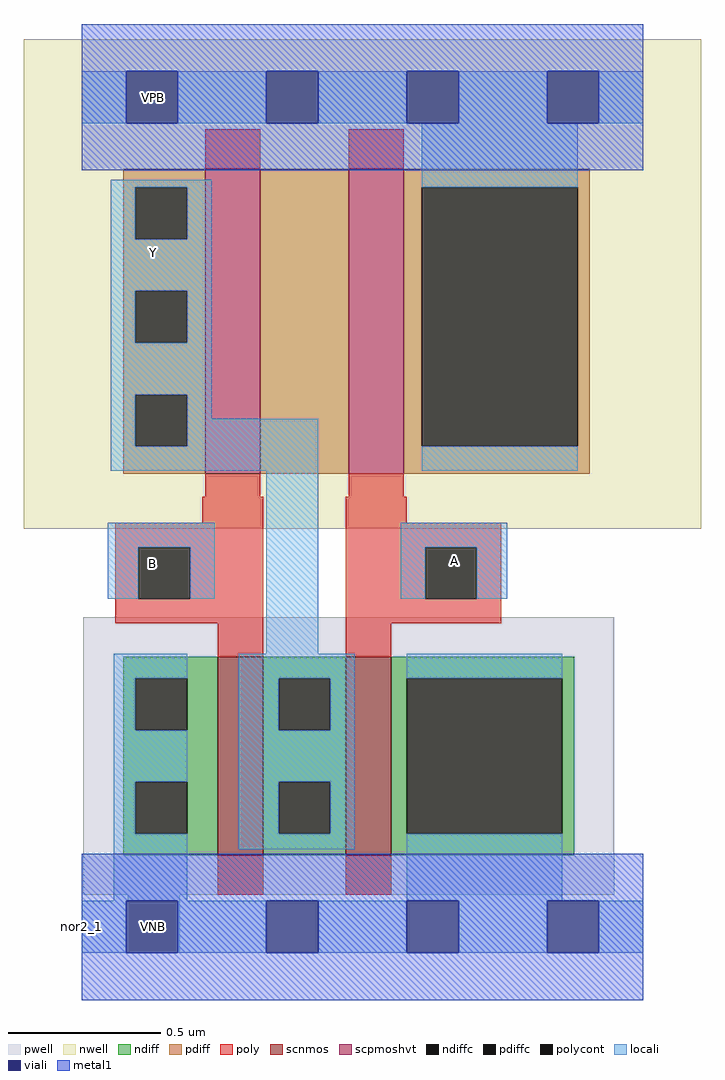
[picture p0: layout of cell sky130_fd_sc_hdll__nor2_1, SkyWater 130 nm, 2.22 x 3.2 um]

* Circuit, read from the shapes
.subckt sky130_fd_sc_hdll__nor2_1 A B VGND VNB VPB VPWR Y
XM1 Y B VGND VNB sky130_fd_pr__nfet_01v8 w=0.65 l=0.15
XM2 VGND A Y VNB sky130_fd_pr__nfet_01v8 w=0.65 l=0.15
XM3 n1 B Y VPB sky130_fd_pr__pfet_01v8_hvt w=1 l=0.18
XM4 VPWR A n1 VPB sky130_fd_pr__pfet_01v8_hvt w=1 l=0.18
.ends

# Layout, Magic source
magic
tech sky130A
magscale 1 2
<< nwell >>
rect -38 261 406 582
<< pwell >>
rect 1 21 349 203
rect 30 -17 64 21
<< scnmos >>
rect 89 47 119 177
rect 173 47 203 177
<< scpmoshvt >>
rect 81 297 117 497
rect 175 297 211 497
<< ndiff >>
rect 27 163 89 177
rect 27 129 35 163
rect 69 129 89 163
rect 27 95 89 129
rect 27 61 35 95
rect 69 61 89 95
rect 27 47 89 61
rect 119 163 173 177
rect 119 129 129 163
rect 163 129 173 163
rect 119 95 173 129
rect 119 61 129 95
rect 163 61 173 95
rect 119 47 173 61
rect 203 163 323 177
rect 203 61 213 163
rect 315 61 323 163
rect 203 47 323 61
<< pdiff >>
rect 27 485 81 497
rect 27 451 35 485
rect 69 451 81 485
rect 27 417 81 451
rect 27 383 35 417
rect 69 383 81 417
rect 27 349 81 383
rect 27 315 35 349
rect 69 315 81 349
rect 27 297 81 315
rect 117 297 175 497
rect 211 485 333 497
rect 211 315 223 485
rect 325 315 333 485
rect 211 297 333 315
<< ndiffc >>
rect 35 129 69 163
rect 35 61 69 95
rect 129 129 163 163
rect 129 61 163 95
rect 213 61 315 163
<< pdiffc >>
rect 35 451 69 485
rect 35 383 69 417
rect 35 315 69 349
rect 223 315 325 485
<< poly >>
rect 81 497 117 523
rect 175 497 211 523
rect 81 282 117 297
rect 175 282 211 297
rect 79 265 119 282
rect 22 249 119 265
rect 22 215 37 249
rect 71 215 119 249
rect 22 199 119 215
rect 89 177 119 199
rect 173 265 213 282
rect 173 249 275 265
rect 173 215 225 249
rect 259 215 275 249
rect 173 199 275 215
rect 173 177 203 199
rect 89 21 119 47
rect 173 21 203 47
<< polycont >>
rect 37 215 71 249
rect 225 215 259 249
<< locali >>
rect 0 527 29 561
rect 63 527 121 561
rect 155 527 213 561
rect 247 527 305 561
rect 339 527 368 561
rect 19 485 85 490
rect 19 451 35 485
rect 69 451 85 485
rect 19 417 85 451
rect 19 383 35 417
rect 69 383 85 417
rect 19 349 85 383
rect 19 315 35 349
rect 69 333 85 349
rect 223 485 325 527
rect 69 315 155 333
rect 19 299 155 315
rect 223 299 325 315
rect 17 249 87 265
rect 17 215 37 249
rect 71 215 87 249
rect 121 179 155 299
rect 209 249 279 265
rect 209 215 225 249
rect 259 215 279 249
rect 21 163 69 179
rect 21 129 35 163
rect 21 95 69 129
rect 21 61 35 95
rect 21 17 69 61
rect 103 163 179 179
rect 103 129 129 163
rect 163 129 179 163
rect 103 95 179 129
rect 103 61 129 95
rect 163 61 179 95
rect 103 51 179 61
rect 213 163 315 179
rect 213 17 315 61
rect 0 -17 29 17
rect 63 -17 121 17
rect 155 -17 213 17
rect 247 -17 305 17
rect 339 -17 368 17
<< viali >>
rect 29 527 63 561
rect 121 527 155 561
rect 213 527 247 561
rect 305 527 339 561
rect 29 -17 63 17
rect 121 -17 155 17
rect 213 -17 247 17
rect 305 -17 339 17
<< metal1 >>
rect 0 561 368 592
rect 0 527 29 561
rect 63 527 121 561
rect 155 527 213 561
rect 247 527 305 561
rect 339 527 368 561
rect 0 496 368 527
rect 0 17 368 48
rect 0 -17 29 17
rect 63 -17 121 17
rect 155 -17 213 17
rect 247 -17 305 17
rect 339 -17 368 17
rect 0 -48 368 -17
<< labels >>
flabel locali s 29 221 63 255 0 FreeSans 200 0 0 0 B
port 2 nsew signal input
flabel locali s 30 425 64 459 0 FreeSans 200 0 0 0 Y
port 7 nsew signal output
flabel locali s 209 215 279 265 0 FreeSans 200 0 0 0 A
port 1 nsew signal input
flabel nwell s 30 527 64 561 0 FreeSans 200 0 0 0 VPB
port 5 nsew power bidirectional
flabel pwell s 30 -17 64 17 0 FreeSans 200 0 0 0 VNB
port 4 nsew ground bidirectional
flabel metal1 s 30 -17 64 17 0 FreeSans 200 0 0 0 VGND
port 3 nsew ground bidirectional
flabel metal1 s 30 527 64 561 0 FreeSans 200 0 0 0 VPWR
port 6 nsew power bidirectional
rlabel comment s 0 0 0 0 4 nor2_1
<< properties >>
string LEFsite unithd
string LEFclass CORE
string FIXED_BBOX 0 0 368 544
string GDS_FILE $PDKPATH/libs.ref/sky130_fd_sc_hdll/gds/sky130_fd_sc_hdll.gds
string LEFsymmetry X Y R90
string GDS_END 2314882
string GDS_START 2310748
string LEFproperties maskLayoutSubType "abstract" prCellType "standard" originalViewName "layout"
<< end >>
